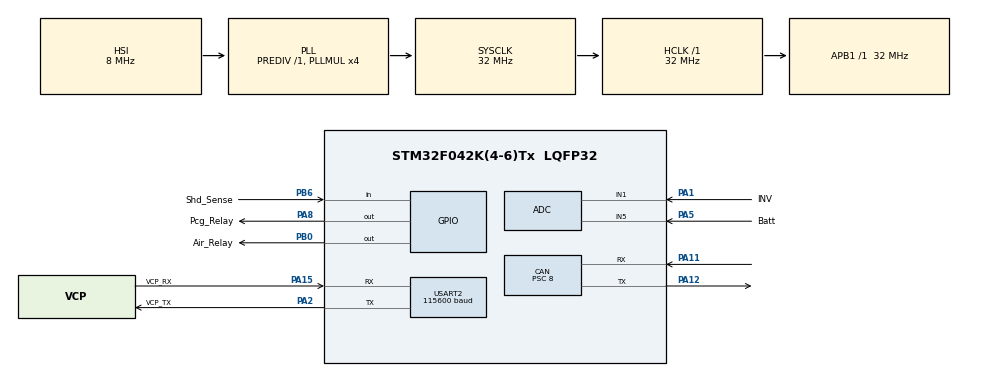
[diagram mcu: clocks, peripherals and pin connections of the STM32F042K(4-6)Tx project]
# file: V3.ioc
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ADC.DMAContinuousRequests=ENABLE
ADC.EOCSelection=ADC_EOC_SEQ_CONV
ADC.ExternalTrigConv=ADC_EXTERNALTRIGCONV_T1_TRGO
ADC.Overrun=ADC_OVR_DATA_OVERWRITTEN
ADC.SamplingTime=ADC_SAMPLETIME_13CYCLES_5
CAN.BS1=CAN_BS1_6TQ
CAN.CalculateBaudRate=500000
CAN.CalculateTimeBit=2000
CAN.CalculateTimeQuantum=250.0
CAN.Prescaler=8
Dma.ADC.0.Direction=DMA_PERIPH_TO_MEMORY
Dma.ADC.0.Instance=DMA1_Channel1
Dma.ADC.0.MemDataAlignment=DMA_MDATAALIGN_WORD
Dma.ADC.0.MemInc=DMA_MINC_ENABLE
Dma.ADC.0.Mode=DMA_CIRCULAR
Dma.ADC.0.PeriphDataAlignment=DMA_PDATAALIGN_WORD
Dma.ADC.0.PeriphInc=DMA_PINC_DISABLE
Dma.ADC.0.Priority=DMA_PRIORITY_MEDIUM
Dma.Request0=ADC
Mcu.Family=STM32F0
Mcu.Name=STM32F042K(4-6)Tx
Mcu.Package=LQFP32
NVIC.ADC1_IRQn=true\:0\:0\:false\:false\:true\:true\:true\:true
NVIC.DMA1_Channel1_IRQn=true\:0\:0\:false\:false\:true\:false\:true\:true
PA1.GPIO_Label=INV
PA1.Mode=IN1
PA1.Signal=ADC_IN1
PA11.Mode=CAN_Activate
PA11.Signal=CAN_RX
PA12.Mode=CAN_Activate
PA12.Signal=CAN_TX
PA13.GPIO_Label=SWDIO
PA13.Mode=Serial_Wire
PA13.Signal=SYS_SWDIO
PA14.GPIO_Label=SWCLK
PA14.Mode=Serial_Wire
PA14.Signal=SYS_SWCLK
PA15.GPIO_Label=VCP_RX
PA15.Mode=Asynchronous
PA15.Signal=USART2_RX
PA2.GPIO_Label=VCP_TX
PA2.Mode=Asynchronous
PA2.Signal=USART2_TX
PA5.GPIO_Label=Batt
PA5.Mode=IN5
PA5.Signal=ADC_IN5
PA8.GPIO_Label=Pcg_Relay
PA8.Signal=GPIO_Output
PB0.GPIO_Label=Air_Relay
PB0.Signal=GPIO_Output
PB6.GPIO_Label=Shd_Sense
PB6.Signal=GPIO_Input
PF0-OSC_IN.GPIO_Label=MCO
PF0-OSC_IN.Mode=HSE-External-Clock-Source
PF0-OSC_IN.Signal=RCC_OSC_IN
ProjectManager.HeapSize=0x200
ProjectManager.StackSize=0x400
ProjectManager.TargetToolchain=STM32CubeIDE
RCC.AHBFreq_Value=32000000
RCC.APB1Freq_Value=32000000
RCC.APB1TimFreq_Value=32000000
RCC.HCLKFreq_Value=32000000
RCC.PLLMUL=RCC_PLL_MUL4
RCC.SYSCLKFreq_VALUE=32000000
RCC.SYSCLKSource=RCC_SYSCLKSOURCE_PLLCLK
TIM1.Period=49999
TIM1.Prescaler=127
TIM1.TIM_MasterOutputTrigger=TIM_TRGO_UPDATE
USART2.BaudRate=115600
USART2.VirtualMode-Asynchronous=VM_ASYNC
VP_TIM1_VS_ClockSourceINT.Mode=Internal
board=NUCLEO-F042K6

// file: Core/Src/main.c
/* USER CODE BEGIN Header */
/**
  ******************************************************************************
  * @file           : main.c
  * @brief          : Main program body
  ******************************************************************************
  * @attention
  *
  * Copyright (c) 2026 STMicroelectronics.
  * All rights reserved.
  *
  * This software is licensed under terms that can be found in the LICENSE file
  * in the root directory of this software component.
  * If no LICENSE file comes with this software, it is provided AS-IS.
  *
  ******************************************************************************
  */
/* USER CODE END Header */
#include "main.h"

/* USER CODE BEGIN Includes */
#include "config.h"
#include "stdio.h"
/* USER CODE END Includes */

ADC_HandleTypeDef hadc;
DMA_HandleTypeDef hdma_adc;

CAN_HandleTypeDef hcan;

TIM_HandleTypeDef htim1;

UART_HandleTypeDef huart2;

/* USER CODE BEGIN PV */
uint32_t analogBuf[4]; //array for analog dma values
char buf[40]; //buffer for serial prints
uint8_t sample = 0; //toggle variable for adc callback
uint16_t invRaw = 0;
uint16_t battRaw = 0;
float invVolt = 0.0;
float battVolt = 0.0;
float diffVolt = 0.0;
uint8_t state = 0;
uint8_t ioSate = 0;
/* USER CODE END PV */

void SystemClock_Config(void);
static void MX_GPIO_Init(void);
static void MX_DMA_Init(void);
static void MX_USART2_UART_Init(void);
static void MX_ADC_Init(void);
static void MX_CAN_Init(void);
static void MX_TIM1_Init(void);
/* USER CODE BEGIN PFP */
void HAL_ADC_ConvCpltCallback(ADC_HandleTypeDef* hadc);
void stringFormat(float v1, float v2, int s,char* res);
/* USER CODE END PFP */

int main(void)
{

  /* MCU Configuration--------------------------------------------------------*/

  /* Reset of all peripherals, Initializes the Flash interface and the Systick. */
  HAL_Init();

  /* Configure the system clock */
  SystemClock_Config();

  /* Initialize all configured peripherals */
  MX_GPIO_Init();
  MX_DMA_Init();
  MX_USART2_UART_Init();
  MX_ADC_Init();
  MX_CAN_Init();
  MX_TIM1_Init();
  /* USER CODE BEGIN 2 */

	HAL_ADCEx_Calibration_Start(&hadc);
	HAL_TIM_Base_Start(&htim1);
	HAL_ADC_Start_DMA(&hadc,analogBuf,2);

	if(SERIAL_TX)
	{
	  HAL_UART_Transmit(&huart2,(uint8_t*)"Precharge V3.0",18,100);
	}
	//Can Configuration
	HAL_CAN_Start(&hcan);
	uint8_t canData[5];
	uint32_t mailbox;

	CAN_TxHeaderTypeDef canConfig;
	canConfig.StdId = 0x20; // standard id
	canConfig.ExtId = 0x00; //extended id
	canConfig.IDE = CAN_ID_STD; //specify standard id
	canConfig.RTR = CAN_RTR_DATA; //specify data frame, not remote
	canConfig.DLC = 0x05; //number of data bytes
	canConfig.TransmitGlobalTime = DISABLE; //no timestamp

  /* USER CODE END 2 */

  /* Infinite loop */
  /* USER CODE BEGIN WHILE */
  while (1)
  {

	 if(sample == 1)
	 {
		 //adc sample completed
		 //runs at 5Hz

		 sample = 0;

		 //calculate voltages
		 //battVolt = (3.3/4096) * 101 * battRaw; // (3.3/4095) * (R1+R2)/R2 * adc measurement
		 //invVolt = (3.3/4096) * 101 * invRaw;
		 battVolt = (3.3/4096) * battRaw;
		 invVolt = (3.3/4096) * invRaw;

		 diffVolt = battRaw - invRaw;

		 //uart and can transmit
		 if(SERIAL_TX)
		 {
			 sprintf(buf,"Battery: %d Inverter: %d State: %d\r\n",(int)(battVolt*100),(int)(invVolt*100),state);
			 HAL_UART_Transmit(&huart2,(uint8_t*)buf,40,100);
		 }
		 if(CAN_TX)
		 {
			 //float x100 to transmit 2 decimal places of voltage
			 canData[0] = ((int)(battVolt * 100)) >>8;
			 canData[1] = ((int)(battVolt * 100)) &0xFF;
			 canData[2] = ((int)(invVolt * 100)) >>8;
			 canData[3] = ((int)(invVolt * 100)) &0xFF;
			 canData[4] = state;
			 HAL_CAN_AddTxMessage(&hcan,&canConfig,canData,&mailbox);
		 }

		 //precharge logic
		 switch(state)
		 {
		 case 0:
			 //idle
			 if(battVolt < BATT_THRESH)
			 {
				 state = 3;
			 }
			 else if(HAL_GPIO_ReadPin(Shd_Sense_GPIO_Port,Shd_Sense_Pin) == 1)
			 {
				 state = 1;
			 }
			 else
			 {
				 HAL_GPIO_WritePin(Air_Relay_GPIO_Port,Air_Relay_Pin,GPIO_PIN_RESET);
				 HAL_GPIO_WritePin(Pcg_Relay_GPIO_Port,Pcg_Relay_Pin,GPIO_PIN_RESET);
			 }
			 break;
		 case 1:
			 //charging
			 if(HAL_GPIO_ReadPin(Shd_Sense_GPIO_Port,Shd_Sense_Pin) == 0)
			 {
				 state = 0;
			 }
			 else if(diffVolt<=0.05)
			 {
				 state = 2;
			 }
			 else
			 {
				 HAL_GPIO_WritePin(Air_Relay_GPIO_Port,Air_Relay_Pin,GPIO_PIN_RESET);
				 HAL_GPIO_WritePin(Pcg_Relay_GPIO_Port,Pcg_Relay_Pin,GPIO_PIN_SET);
			 }
			 break;
		 case 2:
			 //running
			 if(HAL_GPIO_ReadPin(Shd_Sense_GPIO_Port,Shd_Sense_Pin) == 0)
			 {
				 state = 0;
			 }
			 else
			 {
				 HAL_GPIO_WritePin(Air_Relay_GPIO_Port,Air_Relay_Pin,GPIO_PIN_SET);
				 HAL_GPIO_WritePin(Pcg_Relay_GPIO_Port,Pcg_Relay_Pin,GPIO_PIN_RESET);
			 }
			 break;
		 }

	 }

    /* USER CODE END WHILE */

  }
}

void SystemClock_Config(void)
{
  RCC_OscInitTypeDef RCC_OscInitStruct = {0};
  RCC_ClkInitTypeDef RCC_ClkInitStruct = {0};

  /** Initializes the RCC Oscillators according to the specified parameters
  * in the RCC_OscInitTypeDef structure.
  */
  RCC_OscInitStruct.OscillatorType = RCC_OSCILLATORTYPE_HSI|RCC_OSCILLATORTYPE_HSI14;
  RCC_OscInitStruct.HSIState = RCC_HSI_ON;
  RCC_OscInitStruct.HSI14State = RCC_HSI14_ON;
  RCC_OscInitStruct.HSICalibrationValue = RCC_HSICALIBRATION_DEFAULT;
  RCC_OscInitStruct.HSI14CalibrationValue = 16;
  RCC_OscInitStruct.PLL.PLLState = RCC_PLL_ON;
  RCC_OscInitStruct.PLL.PLLSource = RCC_PLLSOURCE_HSI;
  RCC_OscInitStruct.PLL.PLLMUL = RCC_PLL_MUL4;
  RCC_OscInitStruct.PLL.PREDIV = RCC_PREDIV_DIV1;
  if (HAL_RCC_OscConfig(&RCC_OscInitStruct) != HAL_OK)
  {
    Error_Handler();
  }

  /** Initializes the CPU, AHB and APB buses clocks
  */
  RCC_ClkInitStruct.ClockType = RCC_CLOCKTYPE_HCLK|RCC_CLOCKTYPE_SYSCLK
                              |RCC_CLOCKTYPE_PCLK1;
  RCC_ClkInitStruct.SYSCLKSource = RCC_SYSCLKSOURCE_PLLCLK;
  RCC_ClkInitStruct.AHBCLKDivider = RCC_SYSCLK_DIV1;
  RCC_ClkInitStruct.APB1CLKDivider = RCC_HCLK_DIV1;

  if (HAL_RCC_ClockConfig(&RCC_ClkInitStruct, FLASH_LATENCY_1) != HAL_OK)
  {
    Error_Handler();
  }
}

static void MX_ADC_Init(void)
{

  ADC_ChannelConfTypeDef sConfig = {0};

  /** Configure the global features of the ADC (Clock, Resolution, Data Alignment and number of conversion)
  */
  hadc.Instance = ADC1;
  hadc.Init.ClockPrescaler = ADC_CLOCK_ASYNC_DIV1;
  hadc.Init.Resolution = ADC_RESOLUTION_12B;
  hadc.Init.DataAlign = ADC_DATAALIGN_RIGHT;
  hadc.Init.ScanConvMode = ADC_SCAN_DIRECTION_FORWARD;
  hadc.Init.EOCSelection = ADC_EOC_SEQ_CONV;
  hadc.Init.LowPowerAutoWait = DISABLE;
  hadc.Init.LowPowerAutoPowerOff = DISABLE;
  hadc.Init.ContinuousConvMode = DISABLE;
  hadc.Init.DiscontinuousConvMode = DISABLE;
  hadc.Init.ExternalTrigConv = ADC_EXTERNALTRIGCONV_T1_TRGO;
  hadc.Init.ExternalTrigConvEdge = ADC_EXTERNALTRIGCONVEDGE_RISING;
  hadc.Init.DMAContinuousRequests = ENABLE;
  hadc.Init.Overrun = ADC_OVR_DATA_OVERWRITTEN;
  if (HAL_ADC_Init(&hadc) != HAL_OK)
  {
    Error_Handler();
  }

  /** Configure for the selected ADC regular channel to be converted.
  */
  sConfig.Channel = ADC_CHANNEL_1;
  sConfig.Rank = ADC_RANK_CHANNEL_NUMBER;
  sConfig.SamplingTime = ADC_SAMPLETIME_13CYCLES_5;
  if (HAL_ADC_ConfigChannel(&hadc, &sConfig) != HAL_OK)
  {
    Error_Handler();
  }

  /** Configure for the selected ADC regular channel to be converted.
  */
  sConfig.Channel = ADC_CHANNEL_5;
  if (HAL_ADC_ConfigChannel(&hadc, &sConfig) != HAL_OK)
  {
    Error_Handler();
  }

}

static void MX_CAN_Init(void)
{

  hcan.Instance = CAN;
  hcan.Init.Prescaler = 8;
  hcan.Init.Mode = CAN_MODE_NORMAL;
  hcan.Init.SyncJumpWidth = CAN_SJW_1TQ;
  hcan.Init.TimeSeg1 = CAN_BS1_6TQ;
  hcan.Init.TimeSeg2 = CAN_BS2_1TQ;
  hcan.Init.TimeTriggeredMode = DISABLE;
  hcan.Init.AutoBusOff = DISABLE;
  hcan.Init.AutoWakeUp = DISABLE;
  hcan.Init.AutoRetransmission = DISABLE;
  hcan.Init.ReceiveFifoLocked = DISABLE;
  hcan.Init.TransmitFifoPriority = DISABLE;
  if (HAL_CAN_Init(&hcan) != HAL_OK)
  {
    Error_Handler();
  }

}

static void MX_TIM1_Init(void)
{

  TIM_ClockConfigTypeDef sClockSourceConfig = {0};
  TIM_MasterConfigTypeDef sMasterConfig = {0};

  htim1.Instance = TIM1;
  htim1.Init.Prescaler = 127;
  htim1.Init.CounterMode = TIM_COUNTERMODE_UP;
  htim1.Init.Period = 49999;
  htim1.Init.ClockDivision = TIM_CLOCKDIVISION_DIV1;
  htim1.Init.RepetitionCounter = 0;
  htim1.Init.AutoReloadPreload = TIM_AUTORELOAD_PRELOAD_DISABLE;
  if (HAL_TIM_Base_Init(&htim1) != HAL_OK)
  {
    Error_Handler();
  }
  sClockSourceConfig.ClockSource = TIM_CLOCKSOURCE_INTERNAL;
  if (HAL_TIM_ConfigClockSource(&htim1, &sClockSourceConfig) != HAL_OK)
  {
    Error_Handler();
  }
  sMasterConfig.MasterOutputTrigger = TIM_TRGO_UPDATE;
  sMasterConfig.MasterSlaveMode = TIM_MASTERSLAVEMODE_DISABLE;
  if (HAL_TIMEx_MasterConfigSynchronization(&htim1, &sMasterConfig) != HAL_OK)
  {
    Error_Handler();
  }

}

static void MX_USART2_UART_Init(void)
{

  huart2.Instance = USART2;
  huart2.Init.BaudRate = 115600;
  huart2.Init.WordLength = UART_WORDLENGTH_8B;
  huart2.Init.StopBits = UART_STOPBITS_1;
  huart2.Init.Parity = UART_PARITY_NONE;
  huart2.Init.Mode = UART_MODE_TX_RX;
  huart2.Init.HwFlowCtl = UART_HWCONTROL_NONE;
  huart2.Init.OverSampling = UART_OVERSAMPLING_16;
  huart2.Init.OneBitSampling = UART_ONE_BIT_SAMPLE_DISABLE;
  huart2.AdvancedInit.AdvFeatureInit = UART_ADVFEATURE_NO_INIT;
  if (HAL_UART_Init(&huart2) != HAL_OK)
  {
    Error_Handler();
  }

}

static void MX_DMA_Init(void)
{

  /* DMA controller clock enable */
  __HAL_RCC_DMA1_CLK_ENABLE();

  /* DMA interrupt init */
  /* DMA1_Channel1_IRQn interrupt configuration */
  HAL_NVIC_SetPriority(DMA1_Channel1_IRQn, 0, 0);
  HAL_NVIC_EnableIRQ(DMA1_Channel1_IRQn);

}

static void MX_GPIO_Init(void)
{
  GPIO_InitTypeDef GPIO_InitStruct = {0};

  /* GPIO Ports Clock Enable */
  __HAL_RCC_GPIOF_CLK_ENABLE();
  __HAL_RCC_GPIOA_CLK_ENABLE();
  __HAL_RCC_GPIOB_CLK_ENABLE();

  /*Configure GPIO pin Output Level */
  HAL_GPIO_WritePin(Air_Relay_GPIO_Port, Air_Relay_Pin, GPIO_PIN_RESET);

  /*Configure GPIO pin Output Level */
  HAL_GPIO_WritePin(Pcg_Relay_GPIO_Port, Pcg_Relay_Pin, GPIO_PIN_RESET);

  /*Configure GPIO pin : Air_Relay_Pin */
  GPIO_InitStruct.Pin = Air_Relay_Pin;
  GPIO_InitStruct.Mode = GPIO_MODE_OUTPUT_PP;
  GPIO_InitStruct.Pull = GPIO_NOPULL;
  GPIO_InitStruct.Speed = GPIO_SPEED_FREQ_LOW;
  HAL_GPIO_Init(Air_Relay_GPIO_Port, &GPIO_InitStruct);

  /*Configure GPIO pin : Pcg_Relay_Pin */
  GPIO_InitStruct.Pin = Pcg_Relay_Pin;
  GPIO_InitStruct.Mode = GPIO_MODE_OUTPUT_PP;
  GPIO_InitStruct.Pull = GPIO_NOPULL;
  GPIO_InitStruct.Speed = GPIO_SPEED_FREQ_LOW;
  HAL_GPIO_Init(Pcg_Relay_GPIO_Port, &GPIO_InitStruct);

  /*Configure GPIO pin : Shd_Sense_Pin */
  GPIO_InitStruct.Pin = Shd_Sense_Pin;
  GPIO_InitStruct.Mode = GPIO_MODE_INPUT;
  GPIO_InitStruct.Pull = GPIO_NOPULL;
  HAL_GPIO_Init(Shd_Sense_GPIO_Port, &GPIO_InitStruct);

}

/* USER CODE BEGIN 4 */
void HAL_ADC_ConvCpltCallback(ADC_HandleTypeDef* hadc)
{
	invRaw = (uint16_t)analogBuf[0];
	battRaw = (uint16_t)analogBuf[1];
	sample = 1;
}
//alternative to sprintf to format uart message - saves lots of ram

/* USER CODE END 4 */

void Error_Handler(void)
{
  __disable_irq();
  while (1)
  {
  }
}
